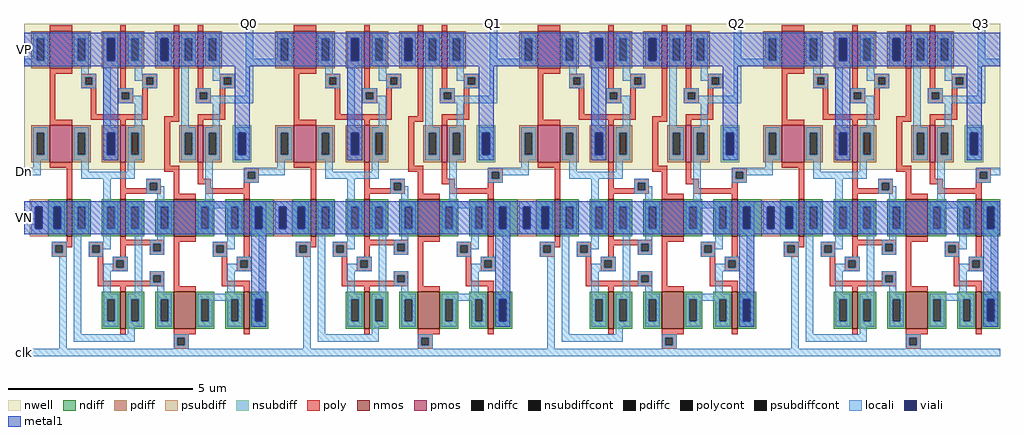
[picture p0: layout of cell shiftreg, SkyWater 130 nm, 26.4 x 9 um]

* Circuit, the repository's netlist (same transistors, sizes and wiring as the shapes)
* SPICE3 file created from shiftreg.ext - technology: sky130A

.subckt CSRL VP VN CLK D Dn Q Qn
X0 a_n40_220# a_n40_730# VP VP sky130_fd_pr__pfet_01v8 ad=1e+12p pd=6e+06u as=1.5e+12p ps=9e+06u w=1e+06u l=150000u
X1 Q CLK a_n40_730# VN sky130_fd_pr__nfet_01v8 ad=1e+12p pd=6e+06u as=1e+12p ps=6e+06u w=1e+06u l=600000u
X2 a_n40_n180# a_n40_220# a_n40_730# VN sky130_fd_pr__nfet_01v8 ad=1.5e+12p pd=9e+06u as=0p ps=0u w=1e+06u l=150000u
X3 Q Qn a_540_220# VP sky130_fd_pr__pfet_01v8 ad=5e+11p pd=3e+06u as=1e+12p ps=6e+06u w=1e+06u l=150000u
X4 a_n40_n180# CLK VN VN sky130_fd_pr__nfet_01v8 ad=0p pd=0u as=1.5e+12p ps=9e+06u w=1e+06u l=150000u
X5 a_540_220# CLK VP VP sky130_fd_pr__pfet_01v8 ad=0p pd=0u as=0p ps=0u w=1e+06u l=150000u
X6 a_n40_730# a_n40_220# VP VP sky130_fd_pr__pfet_01v8 ad=1e+12p pd=6e+06u as=0p ps=0u w=1e+06u l=150000u
X7 a_n40_220# CLK Dn VP sky130_fd_pr__pfet_01v8 ad=0p pd=0u as=5e+11p ps=3e+06u w=1e+06u l=600000u
X8 VN Qn Q VN sky130_fd_pr__nfet_01v8 ad=0p pd=0u as=0p ps=0u w=1e+06u l=150000u
X9 Qn Q a_540_220# VP sky130_fd_pr__pfet_01v8 ad=5e+11p pd=3e+06u as=0p ps=0u w=1e+06u l=150000u
X10 a_n40_730# CLK D VP sky130_fd_pr__pfet_01v8 ad=0p pd=0u as=5e+11p ps=3e+06u w=1e+06u l=600000u
X11 Qn CLK a_n40_220# VN sky130_fd_pr__nfet_01v8 ad=1e+12p pd=6e+06u as=1e+12p ps=6e+06u w=1e+06u l=600000u
X12 a_n40_n180# a_n40_730# a_n40_220# VN sky130_fd_pr__nfet_01v8 ad=0p pd=0u as=0p ps=0u w=1e+06u l=150000u
X13 VN Q Qn VN sky130_fd_pr__nfet_01v8 ad=0p pd=0u as=0p ps=0u w=1e+06u l=150000u
.ends


* Top level circuit shiftreg

XCSRL_0 VP VN clk D Dn Q0 CSRL_1/Dn CSRL
XCSRL_1 VP VN clk Q0 CSRL_1/Dn Q1 CSRL_2/Dn CSRL
XCSRL_2 VP VN clk Q1 CSRL_2/Dn Q2 CSRL_3/Dn CSRL
XCSRL_3 VP VN clk Q2 CSRL_3/Dn Q3 CSRL_3/Qn CSRL
.end

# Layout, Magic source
magic
tech sky130A
<< ndiff >>
rect 620 275 635 375
rect 1280 275 1295 375
rect 1940 275 1955 375
<< locali >>
rect -40 735 -25 755
rect 560 735 580 850
rect 1220 735 1240 850
rect 1880 735 1900 850
rect 2540 735 2560 850
rect -40 440 -25 460
rect -40 -50 -25 -30
<< metal1 >>
rect -40 735 -25 825
rect -40 280 -25 370
use CSRL  CSRL_3
transform 1 0 2090 0 1 365
box -150 -415 510 485
use CSRL  CSRL_2
transform 1 0 1430 0 1 365
box -150 -415 510 485
use CSRL  CSRL_1
transform 1 0 770 0 1 365
box -150 -415 510 485
use CSRL  CSRL_0
transform 1 0 110 0 1 365
box -150 -415 510 485
<< labels >>
rlabel metal1 -40 780 -40 780 7 VP
rlabel locali -40 745 -40 745 7 D
rlabel locali -40 450 -40 450 7 Dn
rlabel metal1 -40 325 -40 325 7 VN
rlabel locali -40 -40 -40 -40 7 clk
rlabel locali 570 850 570 850 1 Q0
rlabel locali 1230 850 1230 850 1 Q1
rlabel locali 1890 850 1890 850 1 Q2
rlabel locali 2550 850 2550 850 1 Q3
<< end >>

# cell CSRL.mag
magic
tech sky130A
<< nwell >>
rect -150 90 510 485
<< nmos >>
rect -35 -90 -20 10
rect 110 -90 125 10
rect 255 -90 315 10
rect 445 -90 460 10
rect 110 -340 125 -240
rect 255 -340 315 -240
rect 445 -340 460 -240
<< pmos >>
rect -80 365 -20 465
rect 110 365 125 465
rect 255 365 270 465
rect 320 365 335 465
rect -80 110 -20 210
rect 110 110 125 210
rect 320 110 335 210
<< ndiff >>
rect -85 -10 -35 10
rect -85 -70 -70 -10
rect -50 -70 -35 -10
rect -85 -90 -35 -70
rect -20 -10 30 10
rect -20 -70 -5 -10
rect 15 -70 30 -10
rect -20 -90 30 -70
rect 60 -10 110 10
rect 60 -70 75 -10
rect 95 -70 110 -10
rect 60 -90 110 -70
rect 125 -10 175 10
rect 125 -70 140 -10
rect 160 -70 175 -10
rect 125 -90 175 -70
rect 205 -10 255 10
rect 205 -70 220 -10
rect 240 -70 255 -10
rect 205 -90 255 -70
rect 315 -10 365 10
rect 315 -70 330 -10
rect 350 -70 365 -10
rect 315 -90 365 -70
rect 395 -10 445 10
rect 395 -70 410 -10
rect 430 -70 445 -10
rect 395 -90 445 -70
rect 460 -10 510 10
rect 460 -70 475 -10
rect 495 -70 510 -10
rect 460 -90 510 -70
rect 60 -260 110 -240
rect 60 -320 75 -260
rect 95 -320 110 -260
rect 60 -340 110 -320
rect 125 -260 175 -240
rect 125 -320 140 -260
rect 160 -320 175 -260
rect 125 -340 175 -320
rect 205 -260 255 -240
rect 205 -320 220 -260
rect 240 -320 255 -260
rect 205 -340 255 -320
rect 315 -260 365 -240
rect 315 -320 330 -260
rect 350 -320 365 -260
rect 315 -340 365 -320
rect 395 -260 445 -240
rect 395 -320 410 -260
rect 430 -320 445 -260
rect 395 -340 445 -320
rect 460 -260 510 -240
rect 460 -320 475 -260
rect 495 -320 510 -260
rect 460 -340 510 -320
<< pdiff >>
rect -130 445 -80 465
rect -130 385 -115 445
rect -95 385 -80 445
rect -130 365 -80 385
rect -20 445 30 465
rect -20 385 -5 445
rect 15 385 30 445
rect -20 365 30 385
rect 60 445 110 465
rect 60 385 75 445
rect 95 385 110 445
rect 60 365 110 385
rect 125 445 175 465
rect 125 385 140 445
rect 160 385 175 445
rect 125 365 175 385
rect 205 445 255 465
rect 205 385 220 445
rect 240 385 255 445
rect 205 365 255 385
rect 270 445 320 465
rect 270 385 285 445
rect 305 385 320 445
rect 270 365 320 385
rect 335 445 385 465
rect 335 385 350 445
rect 370 385 385 445
rect 335 365 385 385
rect -130 190 -80 210
rect -130 130 -115 190
rect -95 130 -80 190
rect -130 110 -80 130
rect -20 190 30 210
rect -20 130 -5 190
rect 15 130 30 190
rect -20 110 30 130
rect 60 190 110 210
rect 60 130 75 190
rect 95 130 110 190
rect 60 110 110 130
rect 125 190 175 210
rect 125 130 140 190
rect 160 130 175 190
rect 125 110 175 130
rect 270 190 320 210
rect 270 130 285 190
rect 305 130 320 190
rect 270 110 320 130
rect 335 190 385 210
rect 335 130 350 190
rect 370 130 385 190
rect 335 110 385 130
<< ndiffc >>
rect -70 -70 -50 -10
rect -5 -70 15 -10
rect 75 -70 95 -10
rect 140 -70 160 -10
rect 220 -70 240 -10
rect 330 -70 350 -10
rect 410 -70 430 -10
rect 475 -70 495 -10
rect 75 -320 95 -260
rect 140 -320 160 -260
rect 220 -320 240 -260
rect 330 -320 350 -260
rect 410 -320 430 -260
rect 475 -320 495 -260
<< pdiffc >>
rect -115 385 -95 445
rect -5 385 15 445
rect 75 385 95 445
rect 140 385 160 445
rect 220 385 240 445
rect 285 385 305 445
rect 350 385 370 445
rect -115 130 -95 190
rect -5 130 15 190
rect 75 130 95 190
rect 140 130 160 190
rect 285 130 305 190
rect 350 130 370 190
<< psubdiff >>
rect -135 -10 -85 10
rect -135 -70 -120 -10
rect -100 -70 -85 -10
rect -135 -90 -85 -70
<< nsubdiff >>
rect 415 190 465 210
rect 415 130 430 190
rect 450 130 465 190
rect 415 110 465 130
<< psubdiffcont >>
rect -120 -70 -100 -10
<< nsubdiffcont >>
rect 430 130 450 190
<< poly >>
rect -80 465 -20 480
rect 110 465 125 480
rect 255 465 270 480
rect 320 465 335 480
rect -80 350 -20 365
rect -80 225 -65 350
rect 5 340 45 350
rect 5 320 15 340
rect 35 320 45 340
rect 5 310 45 320
rect 110 310 125 365
rect 170 340 210 350
rect 170 320 180 340
rect 200 320 210 340
rect 170 310 210 320
rect 30 240 45 310
rect 105 300 145 310
rect 105 280 115 300
rect 135 280 145 300
rect 105 270 145 280
rect 170 240 185 310
rect 30 225 185 240
rect 255 235 270 365
rect 320 310 335 365
rect 380 340 420 350
rect 380 320 390 340
rect 410 320 420 340
rect 380 310 420 320
rect 315 300 355 310
rect 315 280 325 300
rect 345 280 355 300
rect 315 270 355 280
rect 380 240 395 310
rect -80 210 -20 225
rect 110 210 125 225
rect 230 220 270 235
rect 320 225 395 240
rect -80 95 -20 110
rect -35 10 -20 95
rect 110 40 125 110
rect 230 100 245 220
rect 320 210 335 225
rect 230 85 270 100
rect 180 55 220 65
rect 180 40 190 55
rect 110 35 190 40
rect 210 35 220 55
rect 110 25 220 35
rect 255 25 270 85
rect 320 65 335 110
rect 445 85 485 95
rect 445 65 455 85
rect 475 65 485 85
rect 320 50 355 65
rect 340 40 355 50
rect 445 55 485 65
rect 445 40 460 55
rect 340 25 460 40
rect 110 10 125 25
rect 255 10 315 25
rect 445 10 460 25
rect -35 -105 -20 -90
rect 110 -100 125 -90
rect -75 -115 -20 -105
rect -75 -135 -65 -115
rect -45 -120 -20 -115
rect 25 -115 65 -105
rect -45 -135 -35 -120
rect -75 -145 -35 -135
rect 25 -135 35 -115
rect 55 -135 65 -115
rect 25 -145 65 -135
rect 110 -110 230 -100
rect 110 -115 200 -110
rect 110 -145 125 -115
rect 190 -130 200 -115
rect 220 -130 230 -110
rect 190 -140 230 -130
rect 255 -105 315 -90
rect 50 -210 65 -145
rect 90 -155 130 -145
rect 90 -175 100 -155
rect 120 -175 130 -155
rect 90 -185 130 -175
rect 190 -195 230 -185
rect 190 -210 200 -195
rect 50 -215 200 -210
rect 220 -215 230 -195
rect 50 -225 230 -215
rect 255 -225 270 -105
rect 360 -115 400 -105
rect 360 -135 370 -115
rect 390 -135 400 -115
rect 360 -145 400 -135
rect 445 -145 460 -90
rect 385 -210 400 -145
rect 425 -155 465 -145
rect 425 -175 435 -155
rect 455 -175 465 -155
rect 425 -185 465 -175
rect 385 -225 460 -210
rect 110 -240 125 -225
rect 255 -240 315 -225
rect 445 -240 460 -225
rect 110 -355 125 -340
rect 255 -355 315 -340
rect 445 -355 460 -340
rect 255 -365 295 -355
rect 255 -385 265 -365
rect 285 -385 295 -365
rect 255 -395 295 -385
<< polycont >>
rect 15 320 35 340
rect 180 320 200 340
rect 115 280 135 300
rect 390 320 410 340
rect 325 280 345 300
rect 190 35 210 55
rect 455 65 475 85
rect -65 -135 -45 -115
rect 35 -135 55 -115
rect 200 -130 220 -110
rect 100 -175 120 -155
rect 200 -215 220 -195
rect 370 -135 390 -115
rect 435 -175 455 -155
rect 265 -385 285 -365
<< locali >>
rect -125 445 -85 460
rect -125 390 -115 445
rect -150 385 -115 390
rect -95 385 -85 445
rect -150 370 -85 385
rect -15 445 25 460
rect -15 385 -5 445
rect 15 385 25 445
rect -15 370 25 385
rect 5 350 25 370
rect 65 445 105 460
rect 65 385 75 445
rect 95 385 105 445
rect 65 370 105 385
rect 130 445 170 460
rect 130 385 140 445
rect 160 385 170 445
rect 130 370 170 385
rect 210 445 250 460
rect 210 385 220 445
rect 240 385 250 445
rect 210 370 250 385
rect 275 445 315 460
rect 275 385 285 445
rect 305 385 315 445
rect 275 370 315 385
rect 340 445 380 460
rect 340 385 350 445
rect 370 385 380 445
rect 340 370 380 385
rect 5 340 45 350
rect 5 320 15 340
rect 35 320 45 340
rect 5 310 45 320
rect 65 205 85 370
rect 150 350 170 370
rect 150 340 210 350
rect 150 330 180 340
rect 170 320 180 330
rect 200 320 210 340
rect 170 310 210 320
rect 105 300 145 310
rect 105 280 115 300
rect 135 290 145 300
rect 135 280 170 290
rect 105 270 170 280
rect 150 205 170 270
rect -125 190 -85 205
rect -125 130 -115 190
rect -95 130 -85 190
rect -125 115 -85 130
rect -15 190 25 205
rect -15 130 -5 190
rect 15 130 25 190
rect -15 115 25 130
rect 65 190 105 205
rect 65 130 75 190
rect 95 130 105 190
rect 65 115 105 130
rect 130 190 170 205
rect 130 130 140 190
rect 160 130 170 190
rect 130 115 170 130
rect 275 205 295 370
rect 360 350 380 370
rect 450 370 510 390
rect 360 340 420 350
rect 360 330 390 340
rect 380 320 390 330
rect 410 320 420 340
rect 380 310 420 320
rect 315 300 355 310
rect 315 280 325 300
rect 345 290 355 300
rect 450 290 470 370
rect 345 280 470 290
rect 315 270 470 280
rect 360 205 380 270
rect 275 190 315 205
rect 275 130 285 190
rect 305 130 315 190
rect 275 115 315 130
rect 340 190 380 205
rect 340 130 350 190
rect 370 130 380 190
rect 340 115 380 130
rect 420 190 460 205
rect 420 130 430 190
rect 450 130 460 190
rect 420 115 460 130
rect -125 95 -105 115
rect -150 75 -105 95
rect 5 85 25 115
rect 130 85 150 115
rect 5 65 150 85
rect 65 5 85 65
rect 180 55 220 65
rect 180 35 190 55
rect 210 45 220 55
rect 210 35 230 45
rect 180 25 230 35
rect 210 5 230 25
rect 340 5 360 115
rect 445 85 510 95
rect 445 65 455 85
rect 475 75 510 85
rect 475 65 485 75
rect 445 55 485 65
rect -130 -10 -40 5
rect -130 -70 -120 -10
rect -100 -70 -70 -10
rect -50 -70 -40 -10
rect -130 -85 -40 -70
rect -15 -10 25 5
rect -15 -70 -5 -10
rect 15 -70 25 -10
rect -15 -85 25 -70
rect 65 -10 105 5
rect 65 -70 75 -10
rect 95 -70 105 -10
rect 65 -85 105 -70
rect 130 -10 170 5
rect 130 -70 140 -10
rect 160 -70 170 -10
rect 130 -85 170 -70
rect -75 -115 -35 -105
rect -75 -135 -65 -115
rect -45 -135 -35 -115
rect -75 -145 -35 -135
rect -55 -395 -35 -145
rect -15 -355 5 -85
rect 65 -105 85 -85
rect 25 -115 85 -105
rect 25 -135 35 -115
rect 55 -125 85 -115
rect 55 -135 65 -125
rect 25 -145 65 -135
rect 90 -155 130 -145
rect 90 -165 100 -155
rect 65 -175 100 -165
rect 120 -175 130 -155
rect 65 -185 130 -175
rect 65 -245 85 -185
rect 150 -245 170 -85
rect 210 -10 250 5
rect 210 -70 220 -10
rect 240 -70 250 -10
rect 210 -85 250 -70
rect 320 -10 440 5
rect 320 -70 330 -10
rect 350 -15 410 -10
rect 350 -70 360 -15
rect 320 -85 360 -70
rect 400 -70 410 -15
rect 430 -70 440 -10
rect 400 -85 440 -70
rect 465 -10 505 5
rect 465 -70 475 -10
rect 495 -70 505 -10
rect 465 -85 505 -70
rect 210 -100 230 -85
rect 190 -110 230 -100
rect 400 -105 420 -85
rect 190 -130 200 -110
rect 220 -130 230 -110
rect 190 -140 230 -130
rect 360 -115 420 -105
rect 360 -135 370 -115
rect 390 -125 420 -115
rect 390 -135 400 -125
rect 360 -145 400 -135
rect 425 -155 465 -145
rect 425 -165 435 -155
rect 400 -175 435 -165
rect 455 -175 465 -155
rect 400 -185 465 -175
rect 190 -195 230 -185
rect 190 -215 200 -195
rect 220 -215 230 -195
rect 190 -225 230 -215
rect 65 -260 105 -245
rect 65 -320 75 -260
rect 95 -320 105 -260
rect 65 -335 105 -320
rect 130 -260 170 -245
rect 130 -320 140 -260
rect 160 -320 170 -260
rect 130 -335 170 -320
rect 210 -245 230 -225
rect 400 -245 420 -185
rect 485 -245 505 -85
rect 210 -260 250 -245
rect 210 -320 220 -260
rect 240 -320 250 -260
rect 210 -335 250 -320
rect 320 -260 440 -245
rect 320 -320 330 -260
rect 350 -265 410 -260
rect 350 -320 360 -265
rect 320 -335 360 -320
rect 400 -320 410 -265
rect 430 -320 440 -260
rect 400 -335 440 -320
rect 465 -260 505 -245
rect 465 -320 475 -260
rect 495 -320 505 -260
rect 465 -335 505 -320
rect 130 -355 150 -335
rect -15 -375 150 -355
rect 255 -365 295 -355
rect 255 -385 265 -365
rect 285 -385 295 -365
rect 255 -395 295 -385
rect -150 -415 510 -395
<< viali >>
rect 75 385 95 445
rect 220 385 240 445
rect 75 130 95 190
rect 430 130 450 190
rect -120 -70 -100 -10
rect -70 -70 -50 -10
rect 475 -70 495 -10
rect 475 -320 495 -260
<< metal1 >>
rect -150 445 510 460
rect -150 385 75 445
rect 95 385 220 445
rect 240 385 510 445
rect -150 370 510 385
rect 65 190 105 370
rect 65 130 75 190
rect 95 130 105 190
rect 65 115 105 130
rect 420 190 460 370
rect 420 130 430 190
rect 450 130 460 190
rect 420 115 460 130
rect -150 -10 510 5
rect -150 -70 -120 -10
rect -100 -70 -70 -10
rect -50 -70 475 -10
rect 495 -70 510 -10
rect -150 -85 510 -70
rect 465 -260 505 -85
rect 465 -320 475 -260
rect 495 -320 505 -260
rect 465 -335 505 -320
<< labels >>
rlabel metal1 -150 415 -150 415 7 VP
port 1 w
rlabel locali -150 380 -150 380 7 D
port 5 w
rlabel locali -150 85 -150 85 7 Dn
port 6 w
rlabel locali -150 -405 -150 -405 7 CLK
port 3 w
rlabel metal1 -150 -40 -150 -40 7 VN
port 2 w
rlabel locali 510 380 510 380 3 Q
port 7 e
rlabel locali 510 85 510 85 3 Qn
port 8 e
<< end >>
